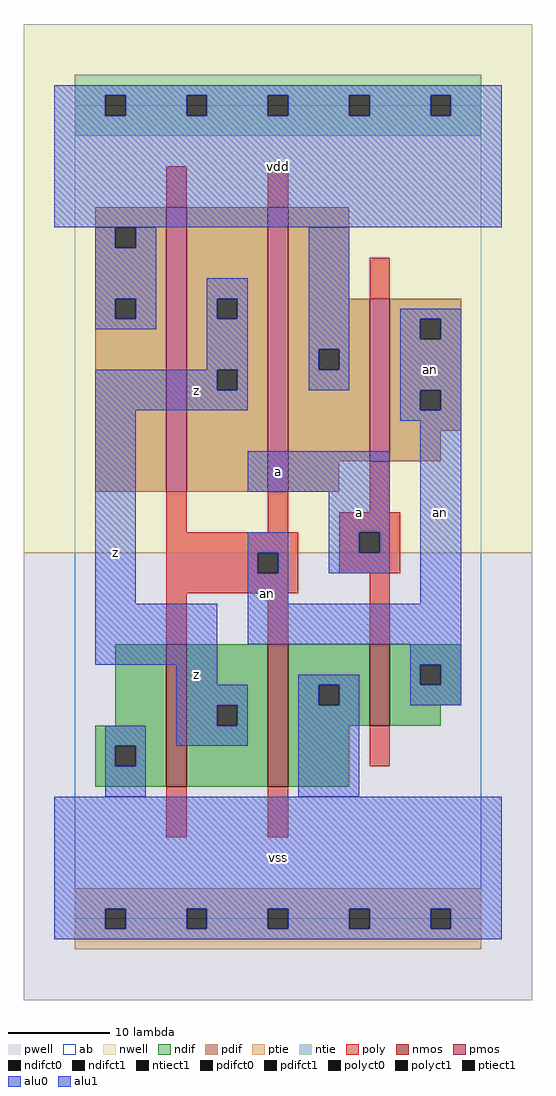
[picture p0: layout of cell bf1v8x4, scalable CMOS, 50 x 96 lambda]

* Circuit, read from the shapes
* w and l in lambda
.subckt bf1v8x4 a an vdd vss z
M1 z an vss vss nfet w=14 l=2 m=2
M2 an a vss vss nfet w=8 l=2
M3 z an vdd vdd pfet w=28 l=2 m=2
M4 an a vdd vdd pfet w=16 l=2
.ends

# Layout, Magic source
magic
tech scmos
<< ab >>
rect 0 0 40 80
<< nwell >>
rect -5 36 45 88
<< pwell >>
rect -5 -8 45 36
<< poly >>
rect 9 70 11 74
rect 19 70 21 74
rect 29 61 31 65
rect 9 38 11 42
rect 19 38 21 42
rect 29 40 31 45
rect 26 38 32 40
rect 9 36 22 38
rect 9 34 18 36
rect 20 34 22 36
rect 26 36 28 38
rect 30 36 32 38
rect 26 34 32 36
rect 9 32 22 34
rect 9 27 11 32
rect 19 27 21 32
rect 29 27 31 34
rect 29 15 31 19
rect 9 8 11 13
rect 19 8 21 13
<< ndif >>
rect 4 19 9 27
rect 2 17 9 19
rect 2 15 4 17
rect 6 15 9 17
rect 2 13 9 15
rect 11 21 19 27
rect 11 19 14 21
rect 16 19 19 21
rect 11 13 19 19
rect 21 23 29 27
rect 21 21 24 23
rect 26 21 29 23
rect 21 19 29 21
rect 31 25 38 27
rect 31 23 34 25
rect 36 23 38 25
rect 31 21 38 23
rect 31 19 36 21
rect 21 13 27 19
<< pdif >>
rect 2 68 9 70
rect 2 66 4 68
rect 6 66 9 68
rect 2 61 9 66
rect 2 59 4 61
rect 6 59 9 61
rect 2 42 9 59
rect 11 61 19 70
rect 11 59 14 61
rect 16 59 19 61
rect 11 54 19 59
rect 11 52 14 54
rect 16 52 19 54
rect 11 42 19 52
rect 21 61 27 70
rect 21 56 29 61
rect 21 54 24 56
rect 26 54 29 56
rect 21 45 29 54
rect 31 59 38 61
rect 31 57 34 59
rect 36 57 38 59
rect 31 52 38 57
rect 31 50 34 52
rect 36 50 38 52
rect 31 48 38 50
rect 31 45 36 48
rect 21 42 26 45
<< alu1 >>
rect -2 81 42 82
rect -2 79 3 81
rect 5 79 11 81
rect 13 79 19 81
rect 21 79 27 81
rect 29 79 35 81
rect 37 79 42 81
rect -2 68 42 79
rect 13 61 17 63
rect 13 59 14 61
rect 16 59 17 61
rect 13 54 17 59
rect 2 52 14 54
rect 16 52 17 54
rect 2 50 17 52
rect 2 31 6 50
rect 17 42 31 46
rect 25 38 31 42
rect 25 36 28 38
rect 30 36 31 38
rect 25 34 31 36
rect 2 25 14 31
rect 10 23 14 25
rect 10 21 17 23
rect 10 19 14 21
rect 16 19 17 21
rect 10 17 17 19
rect -2 1 42 12
rect -2 -1 3 1
rect 5 -1 11 1
rect 13 -1 19 1
rect 21 -1 27 1
rect 29 -1 35 1
rect 37 -1 42 1
rect -2 -2 42 -1
<< ptie >>
rect 0 1 40 3
rect 0 -1 3 1
rect 5 -1 11 1
rect 13 -1 19 1
rect 21 -1 27 1
rect 29 -1 35 1
rect 37 -1 40 1
rect 0 -3 40 -1
<< ntie >>
rect 0 81 40 83
rect 0 79 3 81
rect 5 79 11 81
rect 13 79 19 81
rect 21 79 27 81
rect 29 79 35 81
rect 37 79 40 81
rect 0 77 40 79
<< nmos >>
rect 9 13 11 27
rect 19 13 21 27
rect 29 19 31 27
<< pmos >>
rect 9 42 11 70
rect 19 42 21 70
rect 29 45 31 61
<< polyct0 >>
rect 18 34 20 36
<< polyct1 >>
rect 28 36 30 38
<< ndifct0 >>
rect 4 15 6 17
rect 24 21 26 23
rect 34 23 36 25
<< ndifct1 >>
rect 14 19 16 21
<< ntiect1 >>
rect 3 79 5 81
rect 11 79 13 81
rect 19 79 21 81
rect 27 79 29 81
rect 35 79 37 81
<< ptiect1 >>
rect 3 -1 5 1
rect 11 -1 13 1
rect 19 -1 21 1
rect 27 -1 29 1
rect 35 -1 37 1
<< pdifct0 >>
rect 4 66 6 68
rect 4 59 6 61
rect 24 54 26 56
rect 34 57 36 59
rect 34 50 36 52
<< pdifct1 >>
rect 14 59 16 61
rect 14 52 16 54
<< alu0 >>
rect 2 66 4 68
rect 6 66 8 68
rect 2 61 8 66
rect 2 59 4 61
rect 6 59 8 61
rect 2 58 8 59
rect 23 56 27 68
rect 23 54 24 56
rect 26 54 27 56
rect 23 52 27 54
rect 32 59 38 60
rect 32 57 34 59
rect 36 57 38 59
rect 32 52 38 57
rect 32 50 34 52
rect 36 50 38 52
rect 32 49 38 50
rect 17 36 21 38
rect 17 34 18 36
rect 20 34 21 36
rect 17 31 21 34
rect 34 31 38 49
rect 17 27 38 31
rect 33 25 38 27
rect 22 23 28 24
rect 3 17 7 19
rect 22 21 24 23
rect 26 21 28 23
rect 33 23 34 25
rect 36 23 38 25
rect 33 21 38 23
rect 3 15 4 17
rect 6 15 7 17
rect 3 12 7 15
rect 22 12 28 21
<< labels >>
rlabel alu0 19 32 19 32 6 an
rlabel alu0 36 40 36 40 6 an
rlabel alu0 35 54 35 54 6 an
rlabel alu1 4 36 4 36 6 z
rlabel alu1 12 24 12 24 6 z
rlabel alu1 12 52 12 52 6 z
rlabel alu1 20 6 20 6 6 vss
rlabel alu1 28 40 28 40 6 a
rlabel alu1 20 44 20 44 6 a
rlabel alu1 20 74 20 74 6 vdd
<< end >>
